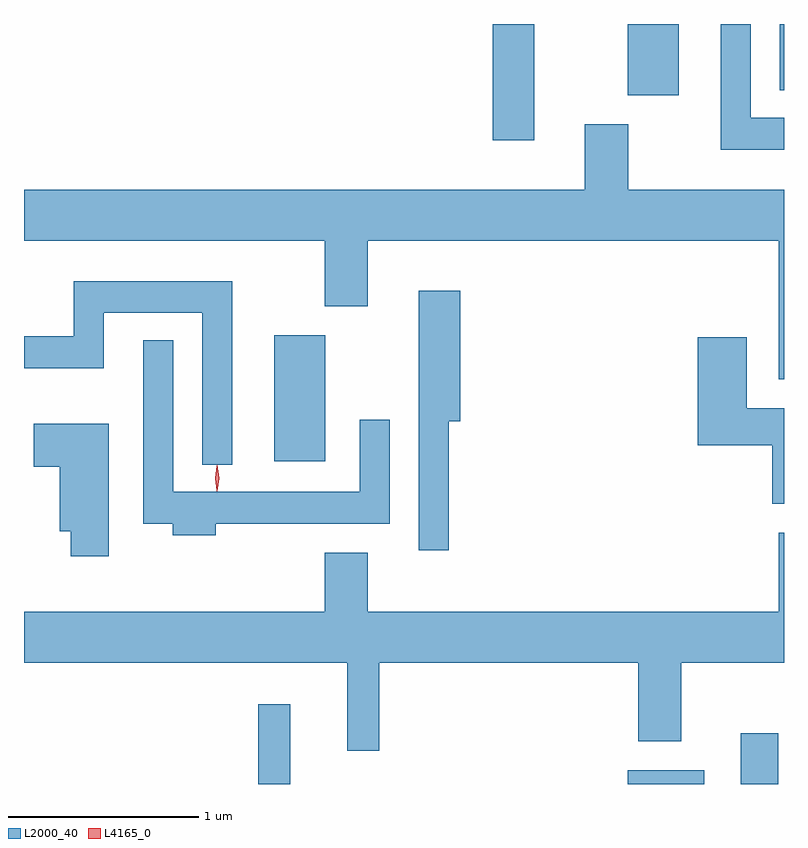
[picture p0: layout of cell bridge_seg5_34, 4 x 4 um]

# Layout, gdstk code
import gdstk
lib = gdstk.Library(unit=1e-6, precision=1e-09)
def R(c, l, rs):  # rectangles x0, y0, x1, y1
    for r in rs: c.add(gdstk.rectangle(r[:2], r[2:], *l))
def P(c, l, *ps):  # polygons
    for p in ps: c.add(gdstk.Polygon(p, *l))
L2000_40 = (2000, 40)
L4165_0 = (4165, 0)

bridge_seg5_34 = lib.new_cell('bridge_seg5_34')
R(bridge_seg5_34, L2000_40, [(1324.061,1462.817,1324.229,1463.238), (1326.006,1462.817,1326.409,1462.889), (1326.601,1462.817,1326.799,1463.084), (1324.146,1464.516,1324.414,1465.179), (1325.296,1466.206,1325.514,1466.817), (1326.006,1466.441,1326.274,1466.817), (1326.806,1466.468,1326.829,1466.817)])
P(bridge_seg5_34, L2000_40, [(1326.829,1466.324),(1326.654,1466.324),(1326.654,1466.817),(1326.496,1466.817),(1326.496,1466.156),(1326.829,1466.156)],
  [(1326.829,1465.944),(1326.009,1465.944),(1326.009,1466.289),(1325.781,1466.289),(1325.781,1465.944),(1322.829,1465.944),(1322.829,1465.676),(1324.411,1465.676),(1324.411,1465.331),(1324.639,1465.331),(1324.639,1465.676),(1326.801,1465.676),(1326.801,1464.946),(1326.829,1464.946)],
  [(1323.924,1465.464),(1323.091,1465.464),(1323.091,1465.174),(1322.829,1465.174),(1322.829,1465.006),(1323.249,1465.006),(1323.249,1465.296),(1323.766,1465.296),(1323.766,1464.498),(1323.924,1464.498)],
  [(1325.064,1464.726),(1325.124,1464.726),(1325.124,1465.414),(1324.906,1465.414),(1324.906,1464.048),(1325.064,1464.048)],
  [(1326.829,1464.794),(1326.634,1464.794),(1326.634,1465.169),(1326.376,1465.169),(1326.376,1464.601),(1326.766,1464.601),(1326.766,1464.291),(1326.829,1464.291)],
  [(1323.839,1464.186),(1324.754,1464.186),(1324.754,1464.733),(1324.596,1464.733),(1324.596,1464.354),(1323.614,1464.354),(1323.614,1465.153),(1323.456,1465.153),(1323.456,1464.186),(1323.611,1464.186),(1323.611,1464.126),(1323.839,1464.126)],
  [(1323.274,1464.714),(1322.881,1464.714),(1322.881,1464.486),(1323.016,1464.486),(1323.016,1464.146),(1323.076,1464.146),(1323.076,1464.016),(1323.274,1464.016)],
  [(1326.829,1464.139),(1326.801,1464.139),(1326.801,1463.724),(1324.639,1463.724),(1324.639,1464.034),(1324.411,1464.034),(1324.411,1463.724),(1322.829,1463.724),(1322.829,1463.456),(1324.531,1463.456),(1324.531,1462.993),(1324.699,1462.993),(1324.699,1463.456),(1326.061,1463.456),(1326.061,1463.041),(1326.289,1463.041),(1326.289,1463.456),(1326.829,1463.456)])
P(bridge_seg5_34, L4165_0, [(1323.846,1464.357),(1323.845,1464.358),(1323.836,1464.427),(1323.845,1464.496),(1323.846,1464.496),(1323.846,1464.496),(1323.856,1464.427),(1323.846,1464.358)],
  [(1323.844,1464.359),(1323.844,1464.36),(1323.835,1464.426),(1323.844,1464.492),(1323.845,1464.493),(1323.845,1464.492),(1323.854,1464.426),(1323.845,1464.36)])

lib.write_gds('bridge_seg5_34.gds')
